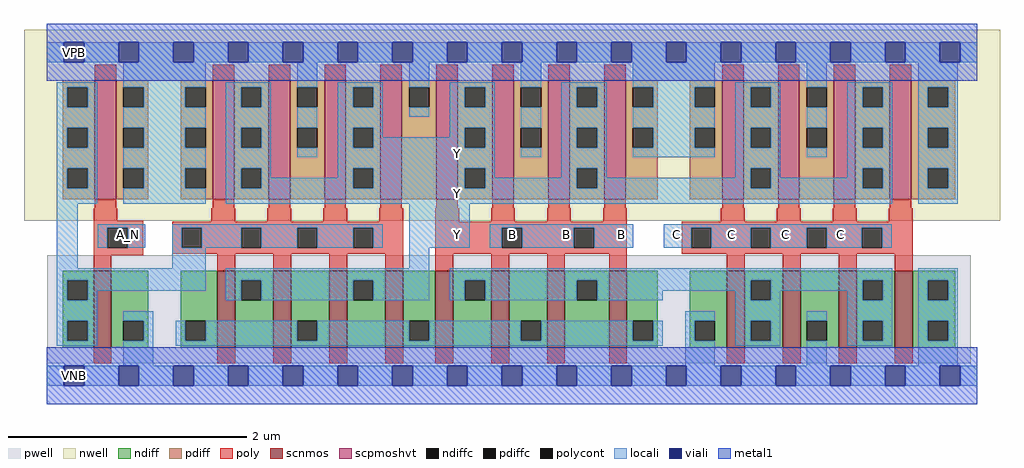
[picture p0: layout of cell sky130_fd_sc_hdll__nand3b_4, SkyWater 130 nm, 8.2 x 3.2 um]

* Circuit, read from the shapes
.subckt sky130_fd_sc_hdll__nand3b_4 A_N B C VGND VNB VPB VPWR Y
XM1 VGND A_N n1 VNB sky130_fd_pr__nfet_01v8 w=0.65 l=0.15
XM2 Y n1 n2 VNB sky130_fd_pr__nfet_01v8 w=0.65 l=0.15 m=4
XM3 n3 B n2 VNB sky130_fd_pr__nfet_01v8 w=0.65 l=0.15 m=4
XM4 n3 C VGND VNB sky130_fd_pr__nfet_01v8 w=0.65 l=0.15 m=4
XM5 VPWR A_N n1 VPB sky130_fd_pr__pfet_01v8_hvt w=1 l=0.18
XM6 Y n1 VPWR VPB sky130_fd_pr__pfet_01v8_hvt w=1 l=0.18 m=4
XM7 Y B VPWR VPB sky130_fd_pr__pfet_01v8_hvt w=1 l=0.18 m=4
XM8 Y C VPWR VPB sky130_fd_pr__pfet_01v8_hvt w=1 l=0.18 m=4
.ends

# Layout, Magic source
magic
tech sky130A
magscale 1 2
<< nwell >>
rect -38 261 1602 582
<< pwell >>
rect 1 21 1553 203
rect 30 -17 64 21
<< scnmos >>
rect 79 47 109 177
rect 287 47 317 177
rect 381 47 411 177
rect 475 47 505 177
rect 569 47 599 177
rect 653 47 683 177
rect 747 47 777 177
rect 841 47 871 177
rect 945 47 975 177
rect 1143 47 1173 177
rect 1237 47 1267 177
rect 1331 47 1361 177
rect 1425 47 1455 177
<< scpmoshvt >>
rect 81 297 117 497
rect 279 297 315 497
rect 373 297 409 497
rect 467 297 503 497
rect 561 297 597 497
rect 655 297 691 497
rect 749 297 785 497
rect 843 297 879 497
rect 937 297 973 497
rect 1135 297 1171 497
rect 1229 297 1265 497
rect 1323 297 1359 497
rect 1417 297 1453 497
<< ndiff >>
rect 27 161 79 177
rect 27 127 35 161
rect 69 127 79 161
rect 27 93 79 127
rect 27 59 35 93
rect 69 59 79 93
rect 27 47 79 59
rect 109 93 171 177
rect 109 59 129 93
rect 163 59 171 93
rect 109 47 171 59
rect 225 93 287 177
rect 225 59 233 93
rect 267 59 287 93
rect 225 47 287 59
rect 317 161 381 177
rect 317 127 327 161
rect 361 127 381 161
rect 317 47 381 127
rect 411 93 475 177
rect 411 59 421 93
rect 455 59 475 93
rect 411 47 475 59
rect 505 161 569 177
rect 505 127 515 161
rect 549 127 569 161
rect 505 47 569 127
rect 599 93 653 177
rect 599 59 609 93
rect 643 59 653 93
rect 599 47 653 59
rect 683 161 747 177
rect 683 127 703 161
rect 737 127 747 161
rect 683 47 747 127
rect 777 93 841 177
rect 777 59 797 93
rect 831 59 841 93
rect 777 47 841 59
rect 871 161 945 177
rect 871 127 891 161
rect 925 127 945 161
rect 871 47 945 127
rect 975 93 1027 177
rect 975 59 985 93
rect 1019 59 1027 93
rect 975 47 1027 59
rect 1081 93 1143 177
rect 1081 59 1089 93
rect 1123 59 1143 93
rect 1081 47 1143 59
rect 1173 161 1237 177
rect 1173 127 1183 161
rect 1217 127 1237 161
rect 1173 93 1237 127
rect 1173 59 1183 93
rect 1217 59 1237 93
rect 1173 47 1237 59
rect 1267 93 1331 177
rect 1267 59 1277 93
rect 1311 59 1331 93
rect 1267 47 1331 59
rect 1361 161 1425 177
rect 1361 127 1371 161
rect 1405 127 1425 161
rect 1361 93 1425 127
rect 1361 59 1371 93
rect 1405 59 1425 93
rect 1361 47 1425 59
rect 1455 161 1527 177
rect 1455 127 1481 161
rect 1515 127 1527 161
rect 1455 93 1527 127
rect 1455 59 1481 93
rect 1515 59 1527 93
rect 1455 47 1527 59
<< pdiff >>
rect 27 485 81 497
rect 27 451 35 485
rect 69 451 81 485
rect 27 417 81 451
rect 27 383 35 417
rect 69 383 81 417
rect 27 349 81 383
rect 27 315 35 349
rect 69 315 81 349
rect 27 297 81 315
rect 117 485 171 497
rect 117 451 129 485
rect 163 451 171 485
rect 117 417 171 451
rect 117 383 129 417
rect 163 383 171 417
rect 117 349 171 383
rect 117 315 129 349
rect 163 315 171 349
rect 117 297 171 315
rect 225 485 279 497
rect 225 451 233 485
rect 267 451 279 485
rect 225 417 279 451
rect 225 383 233 417
rect 267 383 279 417
rect 225 349 279 383
rect 225 315 233 349
rect 267 315 279 349
rect 225 297 279 315
rect 315 485 373 497
rect 315 451 327 485
rect 361 451 373 485
rect 315 417 373 451
rect 315 383 327 417
rect 361 383 373 417
rect 315 349 373 383
rect 315 315 327 349
rect 361 315 373 349
rect 315 297 373 315
rect 409 485 467 497
rect 409 451 421 485
rect 455 451 467 485
rect 409 417 467 451
rect 409 383 421 417
rect 455 383 467 417
rect 409 297 467 383
rect 503 485 561 497
rect 503 451 515 485
rect 549 451 561 485
rect 503 417 561 451
rect 503 383 515 417
rect 549 383 561 417
rect 503 349 561 383
rect 503 315 515 349
rect 549 315 561 349
rect 503 297 561 315
rect 597 485 655 497
rect 597 451 609 485
rect 643 451 655 485
rect 597 297 655 451
rect 691 485 749 497
rect 691 451 703 485
rect 737 451 749 485
rect 691 417 749 451
rect 691 383 703 417
rect 737 383 749 417
rect 691 349 749 383
rect 691 315 703 349
rect 737 315 749 349
rect 691 297 749 315
rect 785 485 843 497
rect 785 451 797 485
rect 831 451 843 485
rect 785 417 843 451
rect 785 383 797 417
rect 831 383 843 417
rect 785 297 843 383
rect 879 485 937 497
rect 879 451 891 485
rect 925 451 937 485
rect 879 417 937 451
rect 879 383 891 417
rect 925 383 937 417
rect 879 349 937 383
rect 879 315 891 349
rect 925 315 937 349
rect 879 297 937 315
rect 973 485 1027 497
rect 973 451 985 485
rect 1019 451 1027 485
rect 973 417 1027 451
rect 973 383 985 417
rect 1019 383 1027 417
rect 973 297 1027 383
rect 1081 485 1135 497
rect 1081 451 1089 485
rect 1123 451 1135 485
rect 1081 417 1135 451
rect 1081 383 1089 417
rect 1123 383 1135 417
rect 1081 297 1135 383
rect 1171 485 1229 497
rect 1171 451 1183 485
rect 1217 451 1229 485
rect 1171 417 1229 451
rect 1171 383 1183 417
rect 1217 383 1229 417
rect 1171 349 1229 383
rect 1171 315 1183 349
rect 1217 315 1229 349
rect 1171 297 1229 315
rect 1265 485 1323 497
rect 1265 451 1277 485
rect 1311 451 1323 485
rect 1265 417 1323 451
rect 1265 383 1277 417
rect 1311 383 1323 417
rect 1265 297 1323 383
rect 1359 485 1417 497
rect 1359 451 1371 485
rect 1405 451 1417 485
rect 1359 417 1417 451
rect 1359 383 1371 417
rect 1405 383 1417 417
rect 1359 349 1417 383
rect 1359 315 1371 349
rect 1405 315 1417 349
rect 1359 297 1417 315
rect 1453 485 1527 497
rect 1453 451 1481 485
rect 1515 451 1527 485
rect 1453 417 1527 451
rect 1453 383 1481 417
rect 1515 383 1527 417
rect 1453 349 1527 383
rect 1453 315 1481 349
rect 1515 315 1527 349
rect 1453 297 1527 315
<< ndiffc >>
rect 35 127 69 161
rect 35 59 69 93
rect 129 59 163 93
rect 233 59 267 93
rect 327 127 361 161
rect 421 59 455 93
rect 515 127 549 161
rect 609 59 643 93
rect 703 127 737 161
rect 797 59 831 93
rect 891 127 925 161
rect 985 59 1019 93
rect 1089 59 1123 93
rect 1183 127 1217 161
rect 1183 59 1217 93
rect 1277 59 1311 93
rect 1371 127 1405 161
rect 1371 59 1405 93
rect 1481 127 1515 161
rect 1481 59 1515 93
<< pdiffc >>
rect 35 451 69 485
rect 35 383 69 417
rect 35 315 69 349
rect 129 451 163 485
rect 129 383 163 417
rect 129 315 163 349
rect 233 451 267 485
rect 233 383 267 417
rect 233 315 267 349
rect 327 451 361 485
rect 327 383 361 417
rect 327 315 361 349
rect 421 451 455 485
rect 421 383 455 417
rect 515 451 549 485
rect 515 383 549 417
rect 515 315 549 349
rect 609 451 643 485
rect 703 451 737 485
rect 703 383 737 417
rect 703 315 737 349
rect 797 451 831 485
rect 797 383 831 417
rect 891 451 925 485
rect 891 383 925 417
rect 891 315 925 349
rect 985 451 1019 485
rect 985 383 1019 417
rect 1089 451 1123 485
rect 1089 383 1123 417
rect 1183 451 1217 485
rect 1183 383 1217 417
rect 1183 315 1217 349
rect 1277 451 1311 485
rect 1277 383 1311 417
rect 1371 451 1405 485
rect 1371 383 1405 417
rect 1371 315 1405 349
rect 1481 451 1515 485
rect 1481 383 1515 417
rect 1481 315 1515 349
<< poly >>
rect 81 497 117 523
rect 279 497 315 523
rect 373 497 409 523
rect 467 497 503 523
rect 561 497 597 523
rect 655 497 691 523
rect 749 497 785 523
rect 843 497 879 523
rect 937 497 973 523
rect 1135 497 1171 523
rect 1229 497 1265 523
rect 1323 497 1359 523
rect 1417 497 1453 523
rect 81 282 117 297
rect 279 282 315 297
rect 373 282 409 297
rect 467 282 503 297
rect 561 282 597 297
rect 655 282 691 297
rect 749 282 785 297
rect 843 282 879 297
rect 937 282 973 297
rect 1135 282 1171 297
rect 1229 282 1265 297
rect 1323 282 1359 297
rect 1417 282 1453 297
rect 79 261 119 282
rect 79 249 162 261
rect 277 259 317 282
rect 371 259 411 282
rect 465 259 505 282
rect 559 259 599 282
rect 79 215 102 249
rect 136 215 162 249
rect 79 203 162 215
rect 211 249 599 259
rect 211 215 227 249
rect 261 215 327 249
rect 361 215 421 249
rect 455 215 515 249
rect 549 215 599 249
rect 211 205 599 215
rect 79 177 109 203
rect 287 177 317 205
rect 381 177 411 205
rect 475 177 505 205
rect 569 177 599 205
rect 653 259 693 282
rect 747 259 787 282
rect 841 259 881 282
rect 935 259 975 282
rect 1133 259 1173 282
rect 1227 259 1267 282
rect 1321 259 1361 282
rect 1415 259 1455 282
rect 653 249 975 259
rect 653 215 765 249
rect 799 215 886 249
rect 920 215 975 249
rect 653 205 975 215
rect 1067 249 1455 259
rect 1067 215 1083 249
rect 1117 215 1183 249
rect 1217 215 1277 249
rect 1311 215 1370 249
rect 1404 215 1455 249
rect 1067 205 1455 215
rect 653 177 683 205
rect 747 177 777 205
rect 841 177 871 205
rect 945 177 975 205
rect 1143 177 1173 205
rect 1237 177 1267 205
rect 1331 177 1361 205
rect 1425 177 1455 205
rect 79 21 109 47
rect 287 21 317 47
rect 381 21 411 47
rect 475 21 505 47
rect 569 21 599 47
rect 653 21 683 47
rect 747 21 777 47
rect 841 21 871 47
rect 945 21 975 47
rect 1143 21 1173 47
rect 1237 21 1267 47
rect 1331 21 1361 47
rect 1425 21 1455 47
<< polycont >>
rect 102 215 136 249
rect 227 215 261 249
rect 327 215 361 249
rect 421 215 455 249
rect 515 215 549 249
rect 765 215 799 249
rect 886 215 920 249
rect 1083 215 1117 249
rect 1183 215 1217 249
rect 1277 215 1311 249
rect 1370 215 1404 249
<< locali >>
rect 0 527 29 561
rect 63 527 121 561
rect 155 527 213 561
rect 247 527 305 561
rect 339 527 397 561
rect 431 527 489 561
rect 523 527 581 561
rect 615 527 673 561
rect 707 527 765 561
rect 799 527 857 561
rect 891 527 949 561
rect 983 527 1041 561
rect 1075 527 1133 561
rect 1167 527 1225 561
rect 1259 527 1317 561
rect 1351 527 1409 561
rect 1443 527 1501 561
rect 1535 527 1564 561
rect 17 485 85 493
rect 17 451 35 485
rect 69 451 85 485
rect 17 417 85 451
rect 17 383 35 417
rect 69 383 85 417
rect 17 349 85 383
rect 17 315 35 349
rect 69 315 85 349
rect 17 289 85 315
rect 129 485 267 527
rect 163 451 233 485
rect 129 417 267 451
rect 163 383 233 417
rect 129 349 267 383
rect 163 315 233 349
rect 129 289 267 315
rect 301 485 377 493
rect 301 451 327 485
rect 361 451 377 485
rect 301 417 377 451
rect 301 383 327 417
rect 361 383 377 417
rect 301 349 377 383
rect 421 485 455 527
rect 421 417 455 451
rect 421 367 455 383
rect 489 485 565 493
rect 489 451 515 485
rect 549 451 565 485
rect 489 417 565 451
rect 609 485 643 527
rect 609 435 643 451
rect 677 485 753 493
rect 677 451 703 485
rect 737 451 753 485
rect 489 383 515 417
rect 549 401 565 417
rect 677 417 753 451
rect 677 401 703 417
rect 549 383 703 401
rect 737 383 753 417
rect 301 315 327 349
rect 361 333 377 349
rect 489 349 753 383
rect 797 485 831 527
rect 797 417 831 451
rect 797 367 831 383
rect 865 485 941 493
rect 865 451 891 485
rect 925 451 941 485
rect 865 417 941 451
rect 865 383 891 417
rect 925 383 941 417
rect 489 333 515 349
rect 361 315 515 333
rect 549 315 703 349
rect 737 333 753 349
rect 865 349 941 383
rect 985 485 1123 527
rect 1019 451 1089 485
rect 985 417 1123 451
rect 1019 383 1089 417
rect 985 367 1123 383
rect 1157 485 1233 493
rect 1157 451 1183 485
rect 1217 451 1233 485
rect 1157 417 1233 451
rect 1157 383 1183 417
rect 1217 383 1233 417
rect 865 333 891 349
rect 737 315 891 333
rect 925 333 941 349
rect 1157 349 1233 383
rect 1277 485 1311 527
rect 1277 417 1311 451
rect 1277 367 1311 383
rect 1345 485 1421 493
rect 1345 451 1371 485
rect 1405 451 1421 485
rect 1345 417 1421 451
rect 1345 383 1371 417
rect 1405 383 1421 417
rect 1157 333 1183 349
rect 925 315 1183 333
rect 1217 333 1233 349
rect 1345 349 1421 383
rect 1345 333 1371 349
rect 1217 315 1371 333
rect 1405 315 1421 349
rect 301 289 1421 315
rect 1465 485 1531 527
rect 1465 451 1481 485
rect 1515 451 1531 485
rect 1465 417 1531 451
rect 1465 383 1481 417
rect 1515 383 1531 417
rect 1465 349 1531 383
rect 1465 315 1481 349
rect 1515 315 1531 349
rect 1465 289 1531 315
rect 17 181 52 289
rect 86 249 166 255
rect 86 215 102 249
rect 136 215 166 249
rect 211 249 565 255
rect 211 215 227 249
rect 261 215 327 249
rect 361 215 421 249
rect 455 215 515 249
rect 549 215 565 249
rect 609 215 711 289
rect 745 249 986 255
rect 745 215 765 249
rect 799 215 886 249
rect 920 215 986 249
rect 1037 249 1420 255
rect 1037 215 1083 249
rect 1117 215 1183 249
rect 1217 215 1277 249
rect 1311 215 1370 249
rect 1404 215 1420 249
rect 211 181 267 215
rect 609 181 643 215
rect 17 161 267 181
rect 17 127 35 161
rect 69 143 267 161
rect 301 161 643 181
rect 69 127 85 143
rect 301 127 327 161
rect 361 127 515 161
rect 549 127 643 161
rect 677 161 1421 181
rect 677 127 703 161
rect 737 127 891 161
rect 925 143 1183 161
rect 925 127 1035 143
rect 1157 127 1183 143
rect 1217 143 1371 161
rect 1217 127 1233 143
rect 17 93 85 127
rect 17 59 35 93
rect 69 59 85 93
rect 17 51 85 59
rect 129 93 179 109
rect 1073 93 1123 109
rect 163 59 179 93
rect 129 17 179 59
rect 217 59 233 93
rect 267 59 421 93
rect 455 59 609 93
rect 643 59 797 93
rect 831 59 985 93
rect 1019 59 1035 93
rect 217 51 1035 59
rect 1073 59 1089 93
rect 1073 17 1123 59
rect 1157 93 1233 127
rect 1345 127 1371 143
rect 1405 127 1421 161
rect 1157 59 1183 93
rect 1217 59 1233 93
rect 1157 51 1233 59
rect 1277 93 1311 109
rect 1277 17 1311 59
rect 1345 93 1421 127
rect 1345 59 1371 93
rect 1405 59 1421 93
rect 1345 51 1421 59
rect 1465 161 1531 181
rect 1465 127 1481 161
rect 1515 127 1531 161
rect 1465 93 1531 127
rect 1465 59 1481 93
rect 1515 59 1531 93
rect 1465 17 1531 59
rect 0 -17 29 17
rect 63 -17 121 17
rect 155 -17 213 17
rect 247 -17 305 17
rect 339 -17 397 17
rect 431 -17 489 17
rect 523 -17 581 17
rect 615 -17 673 17
rect 707 -17 765 17
rect 799 -17 857 17
rect 891 -17 949 17
rect 983 -17 1041 17
rect 1075 -17 1133 17
rect 1167 -17 1225 17
rect 1259 -17 1317 17
rect 1351 -17 1409 17
rect 1443 -17 1501 17
rect 1535 -17 1564 17
<< viali >>
rect 29 527 63 561
rect 121 527 155 561
rect 213 527 247 561
rect 305 527 339 561
rect 397 527 431 561
rect 489 527 523 561
rect 581 527 615 561
rect 673 527 707 561
rect 765 527 799 561
rect 857 527 891 561
rect 949 527 983 561
rect 1041 527 1075 561
rect 1133 527 1167 561
rect 1225 527 1259 561
rect 1317 527 1351 561
rect 1409 527 1443 561
rect 1501 527 1535 561
rect 29 -17 63 17
rect 121 -17 155 17
rect 213 -17 247 17
rect 305 -17 339 17
rect 397 -17 431 17
rect 489 -17 523 17
rect 581 -17 615 17
rect 673 -17 707 17
rect 765 -17 799 17
rect 857 -17 891 17
rect 949 -17 983 17
rect 1041 -17 1075 17
rect 1133 -17 1167 17
rect 1225 -17 1259 17
rect 1317 -17 1351 17
rect 1409 -17 1443 17
rect 1501 -17 1535 17
<< metal1 >>
rect 0 561 1564 592
rect 0 527 29 561
rect 63 527 121 561
rect 155 527 213 561
rect 247 527 305 561
rect 339 527 397 561
rect 431 527 489 561
rect 523 527 581 561
rect 615 527 673 561
rect 707 527 765 561
rect 799 527 857 561
rect 891 527 949 561
rect 983 527 1041 561
rect 1075 527 1133 561
rect 1167 527 1225 561
rect 1259 527 1317 561
rect 1351 527 1409 561
rect 1443 527 1501 561
rect 1535 527 1564 561
rect 0 496 1564 527
rect 0 17 1564 48
rect 0 -17 29 17
rect 63 -17 121 17
rect 155 -17 213 17
rect 247 -17 305 17
rect 339 -17 397 17
rect 431 -17 489 17
rect 523 -17 581 17
rect 615 -17 673 17
rect 707 -17 765 17
rect 799 -17 857 17
rect 891 -17 949 17
rect 983 -17 1041 17
rect 1075 -17 1133 17
rect 1167 -17 1225 17
rect 1259 -17 1317 17
rect 1351 -17 1409 17
rect 1443 -17 1501 17
rect 1535 -17 1564 17
rect 0 -48 1564 -17
<< labels >>
flabel locali s 121 221 155 255 0 FreeSans 200 0 0 0 A_N
port 1 nsew signal input
flabel locali s 673 221 707 255 0 FreeSans 200 0 0 0 Y
port 8 nsew signal output
flabel locali s 949 221 983 255 0 FreeSans 200 0 0 0 B
port 2 nsew signal input
flabel locali s 857 221 891 255 0 FreeSans 200 0 0 0 B
port 2 nsew signal input
flabel locali s 765 221 799 255 0 FreeSans 200 0 0 0 B
port 2 nsew signal input
flabel locali s 673 357 707 391 0 FreeSans 200 0 0 0 Y
port 8 nsew signal output
flabel locali s 1317 221 1351 255 0 FreeSans 200 0 0 0 C
port 3 nsew signal input
flabel locali s 1041 221 1075 255 0 FreeSans 200 0 0 0 C
port 3 nsew signal input
flabel locali s 1133 221 1167 255 0 FreeSans 200 0 0 0 C
port 3 nsew signal input
flabel locali s 1225 221 1259 255 0 FreeSans 200 0 0 0 C
port 3 nsew signal input
flabel locali s 673 289 707 323 0 FreeSans 200 0 0 0 Y
port 8 nsew signal output
flabel pwell s 30 -17 64 17 0 FreeSans 200 0 0 0 VNB
port 5 nsew ground bidirectional
flabel nwell s 30 527 64 561 0 FreeSans 200 0 0 0 VPB
port 6 nsew power bidirectional
flabel metal1 s 30 -17 64 17 0 FreeSans 200 0 0 0 VGND
port 4 nsew ground bidirectional
flabel metal1 s 30 527 64 561 0 FreeSans 200 0 0 0 VPWR
port 7 nsew power bidirectional
rlabel comment s 0 0 0 0 4 nand3b_4
<< properties >>
string LEFsite unithd
string LEFclass CORE
string FIXED_BBOX 0 0 1564 544
string GDS_FILE $PDKPATH/libs.ref/sky130_fd_sc_hdll/gds/sky130_fd_sc_hdll.gds
string LEFsymmetry X Y R90
string GDS_END 2248658
string GDS_START 2236296
string LEFproperties maskLayoutSubType "abstract" prCellType "standard" originalViewName "layout"
<< end >>
